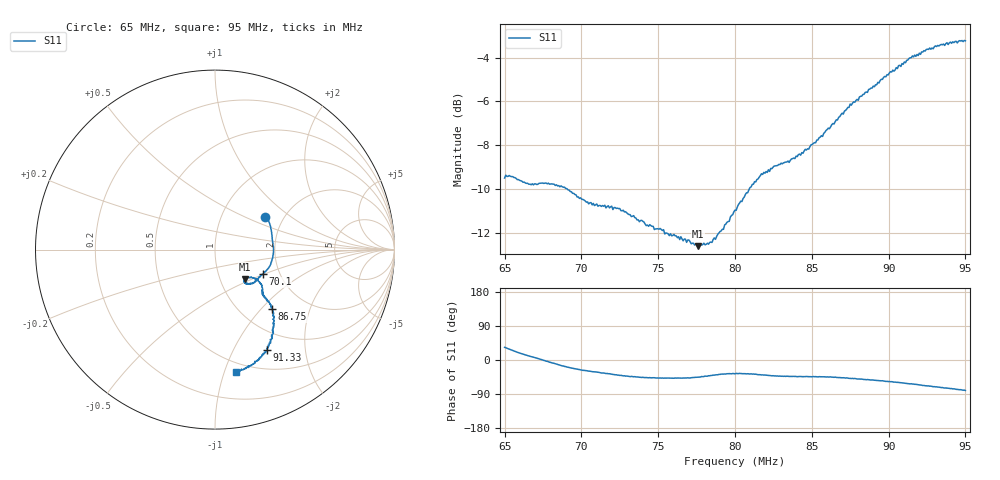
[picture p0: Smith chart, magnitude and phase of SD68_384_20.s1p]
! NanoVNA-App
! Date: 2025-08-02 15:41:37
! Start: 65MHz Stop: 95MHz Points: 401
! S-Parameter data: F S11
# Hz S RI R 50
!  Frequency  S11_Real  S11_Imag
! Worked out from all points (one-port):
!   401 points, 65 MHz to 95 MHz, reference 50 ohm
!   lowest |S11| = -12.6 dB at 77.6 MHz (marker M1), VSWR 1.61, Z = 65.2 - j22.9 ohm
!   |S11| at or under -10 dB: 69.07 MHz to 80.93 MHz (11.86 MHz wide, 15.8 % of centre)
!   S11 on the Smith chart (normalised r, x): 65 MHz: 1.61, +0.67; 70.1 MHz: 1.63, -0.49; 86.75 MHz: 1.37, -1.16; 91.33 MHz: 0.75, -1.37; 95 MHz: 0.42, -1.09
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6.5e7  0.2798 0.1841
6.5825e7  0.3107 0.1173
6.6575e7  0.3184 0.0608
6.7325e7  0.3257 0.0106
6.8e7  0.3226 -0.0362
6.875e7  0.3084 -0.0855
6.935e7  0.2903 -0.1129
7.01e7  0.2656 -0.1378
7.25e7  0.2162 -0.1861
7.4225e7  0.1802 -0.1885
7.625e7  0.1652 -0.1804
7.76e7  0.1652 -0.1658
7.8575e7  0.1858 -0.1554
8e7  0.227 -0.1689
8.1125e7  0.258 -0.1958
8.1725e7  0.2646 -0.2175
8.27e7  0.2636 -0.2413
8.375e7  0.2708 -0.2536
8.5625e7  0.2995 -0.2922
8.675e7  0.3188 -0.333
8.75e7  0.3274 -0.3704
8.96e7  0.3249 -0.4597
9.0575e7  0.3073 -0.5104
9.125e7  0.2881 -0.5525
9.1325e7  0.291 -0.5567
9.2375e7  0.245 -0.6055
9.32e7  0.2128 -0.6384
9.5e7  0.1148 -0.6797
